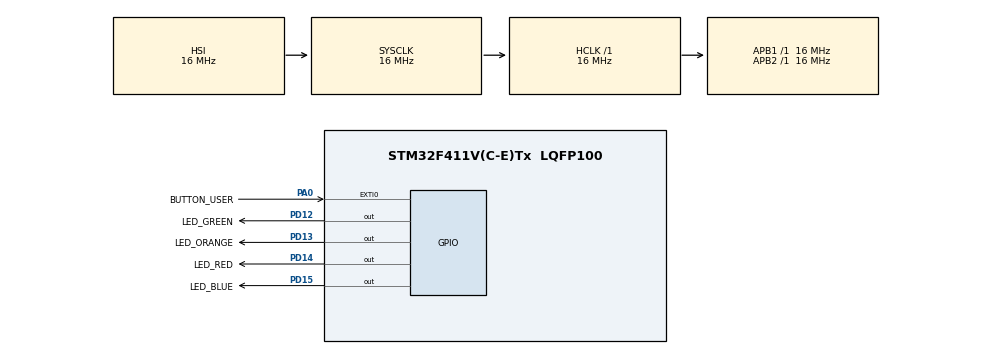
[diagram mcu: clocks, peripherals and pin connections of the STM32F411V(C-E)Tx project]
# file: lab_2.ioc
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Mcu.Family=STM32F4
Mcu.Name=STM32F411V(C-E)Tx
Mcu.Package=LQFP100
NVIC.EXTI0_IRQn=true\:0\:0\:false\:false\:true\:true\:true\:true
NVIC.PriorityGroup=NVIC_PRIORITYGROUP_4
PA0-WKUP.GPIO_Label=BUTTON_USER
PA0-WKUP.GPIO_PuPd=GPIO_PULLDOWN
PA0-WKUP.Signal=GPXTI0
PD12.GPIO_Label=LED_GREEN
PD12.Signal=GPIO_Output
PD13.GPIO_Label=LED_ORANGE
PD13.Signal=GPIO_Output
PD14.GPIO_Label=LED_RED
PD14.Signal=GPIO_Output
PD15.GPIO_Label=LED_BLUE
PD15.Signal=GPIO_Output
ProjectManager.HeapSize=0x200
ProjectManager.StackSize=0x400
ProjectManager.TargetToolchain=STM32CubeIDE
RCC.AHBFreq_Value=16000000
RCC.APB1Freq_Value=16000000
RCC.APB2Freq_Value=16000000
RCC.CortexFreq_Value=16000000
RCC.HSE_VALUE=25000000
RCC.HSI_VALUE=16000000
RCC.LSE_VALUE=32768
RCC.SYSCLKFreq_VALUE=16000000
RCC.VCOOutputFreq_Value=192000000
board=custom

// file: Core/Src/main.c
/* USER CODE BEGIN Header */
/**
 ******************************************************************************
 * @file           : main.c
 * @brief          : Main program body
 ******************************************************************************
 * @attention
 *
 * Copyright (c) 2025 STMicroelectronics.
 * All rights reserved.
 *
 * This software is licensed under terms that can be found in the LICENSE file
 * in the root directory of this software component.
 * If no LICENSE file comes with this software, it is provided AS-IS.
 *
 ******************************************************************************
 */
/* USER CODE END Header */
#include "main.h"

/* USER CODE BEGIN Includes */
#include "patterns.h"

/* USER CODE END Includes */

/* USER CODE BEGIN PV */
PATTERN current_pattern = SNAKE;

/* USER CODE END PV */

void SystemClock_Config(void);
static void MX_GPIO_Init(void);

int main(void)
{

  /* MCU Configuration--------------------------------------------------------*/

  /* Reset of all peripherals, Initializes the Flash interface and the Systick. */
  HAL_Init();

  /* Configure the system clock */
  SystemClock_Config();

  /* Initialize all configured peripherals */
  MX_GPIO_Init();

  /* Infinite loop */
  /* USER CODE BEGIN WHILE */
  while (1) {
    switch (current_pattern) {
    case SNAKE:
      snake_pattern();
      break;
    case WAVE:
      wave_pattern();
      break;
    case LIGHTNING:
      lightning_pattern();
      break;
    case PROPELLER:
      propeller_pattern();
      break;
    default:
      break;
    }
    reset_pattern();

    /* USER CODE END WHILE */

  }
}

void SystemClock_Config(void)
{
  RCC_OscInitTypeDef RCC_OscInitStruct = {0};
  RCC_ClkInitTypeDef RCC_ClkInitStruct = {0};

  /** Configure the main internal regulator output voltage
  */
  __HAL_RCC_PWR_CLK_ENABLE();
  __HAL_PWR_VOLTAGESCALING_CONFIG(PWR_REGULATOR_VOLTAGE_SCALE1);

  /** Initializes the RCC Oscillators according to the specified parameters
  * in the RCC_OscInitTypeDef structure.
  */
  RCC_OscInitStruct.OscillatorType = RCC_OSCILLATORTYPE_HSI;
  RCC_OscInitStruct.HSIState = RCC_HSI_ON;
  RCC_OscInitStruct.HSICalibrationValue = RCC_HSICALIBRATION_DEFAULT;
  RCC_OscInitStruct.PLL.PLLState = RCC_PLL_NONE;
  if (HAL_RCC_OscConfig(&RCC_OscInitStruct) != HAL_OK)
  {
    Error_Handler();
  }

  /** Initializes the CPU, AHB and APB buses clocks
  */
  RCC_ClkInitStruct.ClockType = RCC_CLOCKTYPE_HCLK|RCC_CLOCKTYPE_SYSCLK
                              |RCC_CLOCKTYPE_PCLK1|RCC_CLOCKTYPE_PCLK2;
  RCC_ClkInitStruct.SYSCLKSource = RCC_SYSCLKSOURCE_HSI;
  RCC_ClkInitStruct.AHBCLKDivider = RCC_SYSCLK_DIV1;
  RCC_ClkInitStruct.APB1CLKDivider = RCC_HCLK_DIV1;
  RCC_ClkInitStruct.APB2CLKDivider = RCC_HCLK_DIV1;

  if (HAL_RCC_ClockConfig(&RCC_ClkInitStruct, FLASH_LATENCY_0) != HAL_OK)
  {
    Error_Handler();
  }
}

static void MX_GPIO_Init(void)
{
  GPIO_InitTypeDef GPIO_InitStruct = {0};

  /* GPIO Ports Clock Enable */
  __HAL_RCC_GPIOA_CLK_ENABLE();
  __HAL_RCC_GPIOD_CLK_ENABLE();

  /*Configure GPIO pin Output Level */
  HAL_GPIO_WritePin(GPIOD, LED_GREEN_Pin|LED_ORANGE_Pin|LED_RED_Pin|LED_BLUE_Pin, GPIO_PIN_RESET);

  /*Configure GPIO pin : BUTTON_USER_Pin */
  GPIO_InitStruct.Pin = BUTTON_USER_Pin;
  GPIO_InitStruct.Mode = GPIO_MODE_IT_RISING;
  GPIO_InitStruct.Pull = GPIO_PULLDOWN;
  HAL_GPIO_Init(BUTTON_USER_GPIO_Port, &GPIO_InitStruct);

  /*Configure GPIO pins : LED_GREEN_Pin LED_ORANGE_Pin LED_RED_Pin LED_BLUE_Pin */
  GPIO_InitStruct.Pin = LED_GREEN_Pin|LED_ORANGE_Pin|LED_RED_Pin|LED_BLUE_Pin;
  GPIO_InitStruct.Mode = GPIO_MODE_OUTPUT_PP;
  GPIO_InitStruct.Pull = GPIO_NOPULL;
  GPIO_InitStruct.Speed = GPIO_SPEED_FREQ_LOW;
  HAL_GPIO_Init(GPIOD, &GPIO_InitStruct);

  /* EXTI interrupt init*/
  HAL_NVIC_SetPriority(EXTI0_IRQn, 0, 0);
  HAL_NVIC_EnableIRQ(EXTI0_IRQn);

}

void Error_Handler(void)
{
  __disable_irq();
  while (1) {
  }
}
#ifdef USE_FULL_ASSERT
/**
  * @brief  Reports the name of the source file and the source line number
  *         where the assert_param error has occurred.
  * @param  file: pointer to the source file name
  * @param  line: assert_param error line source number
  * @retval None
  */
void assert_failed(uint8_t *file, uint32_t line)
{
  /* USER CODE BEGIN 6 */
  /* User can add his own implementation to report the file name and line
     number, ex: printf("Wrong parameters value: file %s on line %d\r\n", file,
     line) */
  /* USER CODE END 6 */
}
#endif /* USE_FULL_ASSERT */
